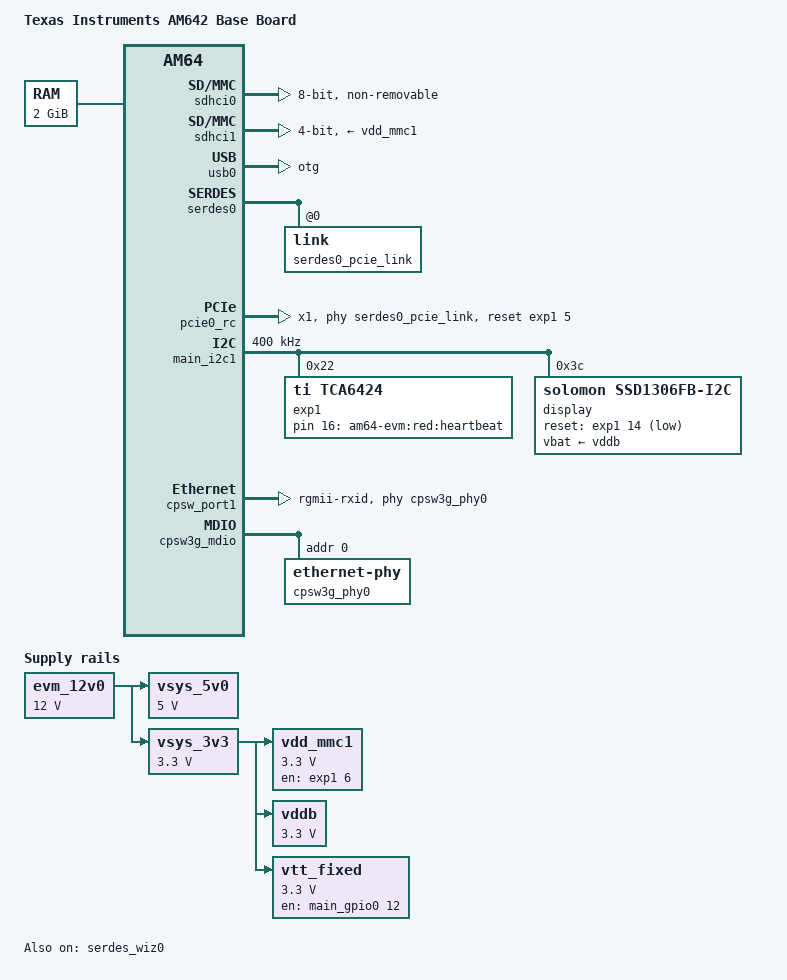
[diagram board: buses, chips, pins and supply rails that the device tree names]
// SPDX-License-Identifier: GPL-2.0
/*
 * Copyright (C) 2020 Texas Instruments Incorporated - https://www.ti.com/
 */

/dts-v1/;

#include <dt-bindings/mux/mux-j721e-wiz.h>
#include <dt-bindings/net/ti-dp83867.h>
#include <dt-bindings/phy/phy.h>
#include <dt-bindings/pinctrl/k3.h>
#include <dt-bindings/leds/common.h>
#include "k3-am642.dtsi"

/ {
	compatible =  "ti,am642-evm", "ti,am64";
	model = "Texas Instruments AM642 Base Board ";

	chosen {
		stdout-path = "serial2:115200n8";
		bootargs = "console=ttyS2,115200n8 earlycon=ns16550a,mmio32,0x02800000";
	};

	memory@80000000 {
		device_type = "memory";
		/* 2G RAM */
		reg = <0x00000000 0x80000000 0x00000000 0x80000000>;

	};

	reserved-memory {
		#address-cells = <2>;
		#size-cells = <2>;
		ranges;

		secure_ddr: optee@9e800000 {
			reg = <0x00 0x9e800000 0x00 0x01800000>; /* for OP-TEE */
			alignment = <0x1000>;
			no-map;
		};
	};

	evm_12v0: fixedregulator-evm12v0 {
		/* main DC jack */
		compatible = "regulator-fixed";
		regulator-name = "evm_12v0";
		regulator-min-microvolt = <12000000>;
		regulator-max-microvolt = <12000000>;
		regulator-always-on;
		regulator-boot-on;
	};

	vsys_5v0: fixedregulator-vsys5v0 {
		/* output of LM5140 */
		compatible = "regulator-fixed";
		regulator-name = "vsys_5v0";
		regulator-min-microvolt = <5000000>;
		regulator-max-microvolt = <5000000>;
		vin-supply = <&evm_12v0>;
		regulator-always-on;
		regulator-boot-on;
	};

	vsys_3v3: fixedregulator-vsys3v3 {
		/* output of LM5140 */
		compatible = "regulator-fixed";
		regulator-name = "vsys_3v3";
		regulator-min-microvolt = <3300000>;
		regulator-max-microvolt = <3300000>;
		vin-supply = <&evm_12v0>;
		regulator-always-on;
		regulator-boot-on;
	};

	vdd_mmc1: fixed-regulator-sd {
		/* TPS2051BD */
		compatible = "regulator-fixed";
		regulator-name = "vdd_mmc1";
		regulator-min-microvolt = <3300000>;
		regulator-max-microvolt = <3300000>;
		regulator-boot-on;
		enable-active-high;
		vin-supply = <&vsys_3v3>;
		gpio = <&exp1 6 GPIO_ACTIVE_HIGH>;
	};

	vddb: fixedregulator-vddb {
		compatible = "regulator-fixed";
		regulator-name = "vddb_3v3_display";
		regulator-min-microvolt = <3300000>;
		regulator-max-microvolt = <3300000>;
		vin-supply = <&vsys_3v3>;
		regulator-always-on;
		regulator-boot-on;
	};

	vtt_fixed: fixedregulator-vtt {
		/* TPS51206DSQR */
		compatible = "regulator-fixed";
		regulator-name = "vtt_fixed";
		vin-supply = <&vsys_3v3>;
		regulator-min-microvolt = <3300000>;
		regulator-max-microvolt = <3300000>;
		regulator-always-on;
		regulator-boot-on;
		enable-active-high;
		gpio = <&main_gpio0 12 GPIO_ACTIVE_HIGH>;
	};

	leds {
		compatible = "gpio-leds";

		led-0 {
			label = "am64-evm:red:heartbeat";
			gpios = <&exp1 16 GPIO_ACTIVE_HIGH>;
			linux,default-trigger = "heartbeat";
			function = LED_FUNCTION_HEARTBEAT;
			default-state = "off";
		};
	};
};

&main_pmx0 {
	main_mmc1_pins_default: main-mmc1-pins-default {
		pinctrl-single,pins = <
			AM64X_IOPAD(0x0294, PIN_INPUT_PULLUP, 0) /* (J19) MMC1_CMD */
			AM64X_IOPAD(0x028c, PIN_INPUT_PULLDOWN, 0) /* (L20) MMC1_CLK */
			AM64X_IOPAD(0x0288, PIN_INPUT_PULLUP, 0) /* (K21) MMC1_DAT0 */
			AM64X_IOPAD(0x0284, PIN_INPUT_PULLUP, 0) /* (L21) MMC1_DAT1 */
			AM64X_IOPAD(0x0280, PIN_INPUT_PULLUP, 0) /* (K19) MMC1_DAT2 */
			AM64X_IOPAD(0x027c, PIN_INPUT_PULLUP, 0) /* (K18) MMC1_DAT3 */
			AM64X_IOPAD(0x0298, PIN_INPUT_PULLUP, 0) /* (D19) MMC1_SDCD */
			AM64X_IOPAD(0x029c, PIN_INPUT, 0) /* (C20) MMC1_SDWP */
		>;
	};

	main_uart0_pins_default: main-uart0-pins-default {
		pinctrl-single,pins = <
			AM64X_IOPAD(0x0238, PIN_INPUT, 0) /* (B16) UART0_CTSn */
			AM64X_IOPAD(0x023c, PIN_OUTPUT, 0) /* (A16) UART0_RTSn */
			AM64X_IOPAD(0x0230, PIN_INPUT, 0) /* (D15) UART0_RXD */
			AM64X_IOPAD(0x0234, PIN_OUTPUT, 0) /* (C16) UART0_TXD */
		>;
	};

	main_i2c1_pins_default: main-i2c1-pins-default {
		pinctrl-single,pins = <
			AM64X_IOPAD(0x0268, PIN_INPUT_PULLUP, 0) /* (C18) I2C1_SCL */
			AM64X_IOPAD(0x026c, PIN_INPUT_PULLUP, 0) /* (B19) I2C1_SDA */
		>;
	};

	mdio1_pins_default: mdio1-pins-default {
		pinctrl-single,pins = <
			AM65X_IOPAD(0x01fc, PIN_OUTPUT, 4) /* (R2) PRG0_PRU1_GPO19.MDIO0_MDC */
			AM65X_IOPAD(0x01f8, PIN_INPUT, 4) /* (P5) PRG0_PRU1_GPO18.MDIO0_MDIO */
		>;
	};

	rgmii1_pins_default: rgmii1-pins-default {
		pinctrl-single,pins = <
			AM65X_IOPAD(0x01cc, PIN_INPUT, 4) /* (W5) PRG0_PRU1_GPO7.RGMII1_RD0 */
			AM65X_IOPAD(0x01d4, PIN_INPUT, 4) /* (Y5) PRG0_PRU1_GPO9.RGMII1_RD1 */
			AM65X_IOPAD(0x01d8, PIN_INPUT, 4) /* (V6) PRG0_PRU1_GPO10.RGMII1_RD2 */
			AM65X_IOPAD(0x01f4, PIN_INPUT, 4) /* (V5) PRG0_PRU1_GPO17.RGMII1_RD3 */
			AM65X_IOPAD(0x0188, PIN_INPUT, 4) /* (AA5) PRG0_PRU0_GPO10.RGMII1_RXC */
			AM65X_IOPAD(0x0184, PIN_INPUT, 4) /* (W6) PRG0_PRU0_GPO9.RGMII1_RX_CTL */
			AM65X_IOPAD(0x0124, PIN_OUTPUT, 4) /* (V15) PRG1_PRU1_GPO7.RGMII1_TD0 */
			AM65X_IOPAD(0x012c, PIN_OUTPUT, 4) /* (V14) PRG1_PRU1_GPO9.RGMII1_TD1 */
			AM65X_IOPAD(0x0130, PIN_OUTPUT, 4) /* (W14) PRG1_PRU1_GPO10.RGMII1_TD2 */
			AM65X_IOPAD(0x014c, PIN_OUTPUT, 4) /* (AA14) PRG1_PRU1_GPO17.RGMII1_TD3 */
			AM65X_IOPAD(0x00e0, PIN_OUTPUT, 4) /* (U14) PRG1_PRU0_GPO10.RGMII1_TXC */
			AM65X_IOPAD(0x00dc, PIN_OUTPUT, 4) /* (U15) PRG1_PRU0_GPO9.RGMII1_TX_CTL */
		>;
	};

	main_usb0_pins_default: main-usb0-pins-default {
		pinctrl-single,pins = <
			AM64X_IOPAD(0x02A8, PIN_OUTPUT, 0) /* (E19) USB0_DRVVBUS */
		>;
	};
};

&main_uart0 {
	pinctrl-names = "default";
	pinctrl-0 = <&main_uart0_pins_default>;
};

&sdhci0 {
	/* emmc */
	bus-width = <8>;
	non-removable;
	ti,driver-strength-ohm = <50>;
	disable-wp;
};

&sdhci1 {
	/* SD/MMC */
	vmmc-supply = <&vdd_mmc1>;
	pinctrl-names = "default";
	bus-width = <4>;
	pinctrl-0 = <&main_mmc1_pins_default>;
	ti,driver-strength-ohm = <50>;
	disable-wp;
};

&usbss0 {
	ti,vbus-divider;
	ti,usb2-only;
};

&usb0 {
	dr_mode = "otg";
	maximum-speed = "high-speed";
	pinctrl-names = "default";
	pinctrl-0 = <&main_usb0_pins_default>;
};

&serdes_ln_ctrl {
	idle-states = <AM64_SERDES0_LANE0_PCIE0>;
};

&serdes_wiz0 {
	status = "okay";
};

&serdes0 {
	serdes0_pcie_link: link@0 {
		reg = <0>;
		cdns,num-lanes = <1>;
		#phy-cells = <0>;
		cdns,phy-type = <PHY_TYPE_PCIE>;
		resets = <&serdes_wiz0 1>;
	};
};

&pcie0_rc {
	reset-gpios = <&exp1 5 GPIO_ACTIVE_HIGH>;
	phys = <&serdes0_pcie_link>;
	phy-names = "pcie_phy";
	num-lanes = <1>;
};

&pcie0_ep {
	phys = <&serdes0_pcie_link>;
	phy-names = "pcie_phy";
	num-lanes = <2>;
	status = "disabled";
};

&main_i2c1 {
	pinctrl-names = "default";
	pinctrl-0 = <&main_i2c1_pins_default>;
	clock-frequency = <400000>;

	exp1: gpio@22 {
		compatible = "ti,tca6424";
		reg = <0x22>;
		gpio-controller;
		#gpio-cells = <2>;
	};

	/* osd9616p0899-10 */
	display@3c {
		compatible = "solomon,ssd1306fb-i2c";
		reg = <0x3c>;
		reset-gpios = <&exp1 14 GPIO_ACTIVE_LOW>;
		vbat-supply = <&vddb>;
		solomon,height = <16>;
		solomon,width = <96>;
		solomon,com-seq;
		solomon,com-invdir;
		solomon,page-offset = <0>;
		solomon,prechargep1 = <2>;
		solomon,prechargep2 = <13>;
	};
};

&cpsw3g {
	pinctrl-names = "default";
	pinctrl-0 = <&mdio1_pins_default
		     &rgmii1_pins_default>;
};

&cpsw_port1 {
	phy-mode = "rgmii-rxid";
	phy-handle = <&cpsw3g_phy0>;
};

&cpsw_port2 {
	status = "disabled";
};

&cpsw3g_mdio {
	cpsw3g_phy0: ethernet-phy@0 {
		reg = <0>;
		ti,rx-internal-delay = <DP83867_RGMIIDCTL_2_00_NS>;
		ti,fifo-depth = <DP83867_PHYCR_FIFO_DEPTH_4_B_NIB>;
	};
};
